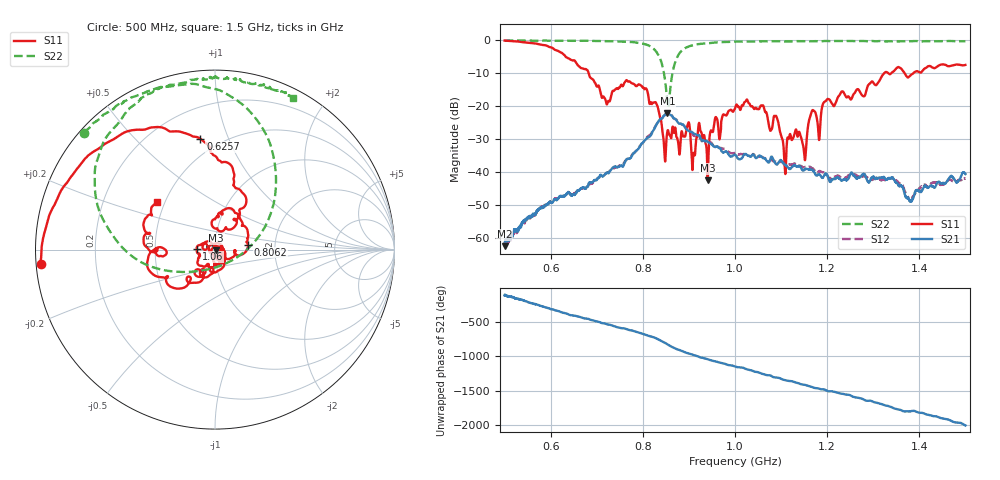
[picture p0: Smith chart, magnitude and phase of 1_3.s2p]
!Agilent Technologies,E8364B,US42250235,A.06.04.32
!Agilent E8364B: A.06.04.32
!Date: Thursday, October 01, 2020 14:32:04
!Correction: S11(Full 2 Port(1,2)) S21(Full 2 Port(1,2)) S12(Full 2 Port(1,2)) S22(Full 2 Port(1,2))
!S2P File: Measurements: S11, S21, S12, S22:
# Hz S  dB  R 50
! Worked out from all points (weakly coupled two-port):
!   2650 points, 500 MHz to 1.5 GHz, reference 50 ohm
!   highest |S21| = -22.25 dB at 853.3 MHz (marker M1); lowest = -62.4 dB at 500.4 MHz (marker M2)
!   lowest |S11| = -42.4 dB at 940.9 MHz (marker M3), VSWR 1.02, Z = 50.6 - j0.446 ohm
!   |S11| at or under -10 dB: 682.2 MHz to 1.324 GHz (642.1 MHz wide, 64 % of centre); 1.332 GHz to 1.339 GHz (7.379 MHz wide, 0.552 % of centre); 1.368 GHz to 1.388 GHz (19.94 MHz wide, 1.45 % of centre)
!   |S22| runs from -20.4 to -0.2 dB; largest |S21 - S12| = 0.0038
!   S11 on the Smith chart (normalised r, x): 500 MHz: 0.01, -0.04; 625.7 MHz: 0.39, +0.80; 806.2 MHz: 1.45, +0.08; 1.06 GHz: 0.81, +0.01; 1.5 GHz: 0.45, +0.29
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5e8  -0.23 -175.3  -61.37 -109.1  -61.80 -106.2  -0.21 138.2
5.003775e8  -0.23 -175.4  -62.36 -97.1  -62.17 -103.6  -0.21 138.2
6.257078e8  -4.11 97.5  -47.19 -0.4  -47.31 -0.3  -0.25 124.3
6.668554e8  -8.57 74.1  -44.83 -72.0  -44.91 -73.9  -0.28 121.4
7.234806e8  -18.97 82.5  -40.24 -174.4  -40.14 -173.0  -0.39 111.2
8.061533e8  -14.65 8.7  -30.16 34.9  -30.03 36.6  -1.38 83.5
8.337108e8  -21.08 -36.8  -24.67 -31.7  -24.76 -33.1  -4.58 55.9
8.533409e8  -27.60 9.6  -22.25 -104.4  -22.22 -104.1  -19.11 -33.7
8.82786e8  -28.96 15.9  -25.37 163.9  -25.43 161.2  -3.50 162.8
8.982635e8  -25.27 -27.9  -27.45 125.7  -27.40 124.6  -2.06 148.2
9.09966e8  -34.18 -17.6  -28.28 100.0  -28.92 98.3  -1.60 141.4
9.239336e8  -26.61 -45.5  -29.23 66.2  -29.67 67.2  -1.23 135.0
9.409211e8  -42.43 -35.6  -30.75 36.2  -30.86 39.5  -1.05 127.8
1.000189e9  -20.66 -93.1  -34.75 -66.7  -34.11 -66.5  -0.54 115.5
1.059834e9  -19.82 177.3  -35.62 -176.3  -35.47 -176.9  -0.45 109.6
1.108154e9  -38.81 49.4  -37.68 93.7  -37.69 96.6  -0.49 102.5
1.134579e9  -28.54 -13.3  -38.31 53.4  -37.91 49.5  -0.40 98.4
1.151189e9  -35.97 155.2  -39.23 25.4  -38.46 22.6  -0.39 95.9
1.166667e9  -21.64 -50.2  -39.21 -7.2  -38.74 -9.6  -0.45 94.1
1.333522e9  -10.17 -150.8  -41.74 72.0  -41.90 68.5  -0.44 78.8
1.381465e9  -10.69 -172.6  -48.72 -0.6  -48.72 -8.7  -0.42 73.9
1.5e9  -7.59 141.0  -40.59 151.0  -41.92 148.7  -0.44 62.9
